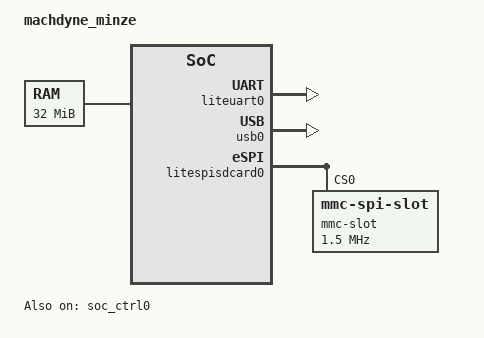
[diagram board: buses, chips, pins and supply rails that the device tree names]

/dts-v1/;

/ {
        compatible = "litex,machdyne_minze", "litex,soc";
        model = "machdyne_minze";
        #address-cells = <1>;
        #size-cells    = <1>;


        chosen {
            bootargs = "console=liteuart earlycon=liteuart,0xf0001000 rootwait root=/dev/ram0";
            linux,initrd-start = <0x41000000>;
            linux,initrd-end   = <0x41800000>;
        };

        sys_clk: clock-48000000 {
            compatible = "fixed-clock";
            #clock-cells = <0>;
            clock-frequency  = <48000000>;
        };

        cpus {
            #address-cells = <1>;
            #size-cells    = <0>;
            timebase-frequency = <48000000>;

            CPU0: cpu@0 {
                device_type = "cpu";
                compatible = "riscv";
                riscv,isa = "rv32i2p0_ma";
                riscv,isa-base = "rv32i";
                riscv,isa-extensions = "a", "i", "m";
                mmu-type = "riscv,sv32";
                reg = <0>;
                clock-frequency = <48000000>;
                status = "okay";
                
                d-cache-size = <64>;
                d-cache-sets = <1>;
                d-cache-block-size = <64>;

                i-cache-size = <64>;
                i-cache-sets = <1>;
                i-cache-block-size = <64>;

                
                tlb-split;
                d-tlb-size = <4>;
                d-tlb-sets = <4>;

                i-tlb-size = <4>;
                i-tlb-sets = <4>;

                
                L0: interrupt-controller {
                    #address-cells = <0>;
                    #interrupt-cells = <0x00000001>;
                    interrupt-controller;
                    compatible = "riscv,cpu-intc";
                };
            };

            
        };

        memory: memory@40000000 {
            device_type = "memory";
            reg = <0x40000000 0x2000000>;
        };

        reserved-memory {
            #address-cells = <1>;
            #size-cells    = <1>;
            ranges;

            opensbi@40f00000 {
                reg = <0x40f00000 0x80000>;
            };

            framebuffer@40c00000 {
                reg = <0x40c00000 0x0>;
            };

        };

        soc {
            #address-cells = <1>;
            #size-cells    = <1>;
            compatible = "simple-bus";
            interrupt-parent = <&intc0>;
            ranges;

            soc_ctrl0: soc_controller@f0000000 {
                compatible = "litex,soc-controller";
                reg = <0xf0000000 0xc>;
                status = "okay";
            };

            intc0: interrupt-controller@f0c00000 {
                compatible = "sifive,fu540-c000-plic", "sifive,plic-1.0.0";
                reg = <0xf0c00000 0x400000>;
                #address-cells = <0>;
                #interrupt-cells = <1>;
                interrupt-controller;
                interrupts-extended = <
                    &L0 11 &L0 9>;
                riscv,ndev = <32>;
                
            };

            liteuart0: serial@f0001000 {
                compatible = "litex,liteuart";
                reg = <0xf0001000 0x100>;
                interrupts = <1>;
                status = "okay";
            };

            usb0: mac@c0000000 {
                compatible = "generic-ohci";
                reg = <0xc0000000 0x1000>;
                interrupts = <16>;
                status = "okay";
            };

            litespisdcard0: spi@f0002800 {
                compatible = "litex,litespi";
                reg = <0xf0002800 0x100>;
                status = "okay";

                litespi,max-bpw = <8>;
                litespi,sck-frequency = <1500000>;
                litespi,num-cs = <1>;

                #address-cells = <1>;
                #size-cells    = <0>;

                mmc-slot@0 {
                    compatible = "mmc-spi-slot";
                    reg = <0>;
                    voltage-ranges = <3300 3300>;
                    spi-max-frequency = <1500000>;
                    status = "okay";
                    };
            };

            framebuffer0: framebuffer@40c00000 {
                compatible = "simple-framebuffer";
                reg = <0x40c00000 0x9600>;
                width = <640>;
                height = <480>;
                stride = <80>;
                format = "mono1";
            };

        };

        aliases {

                serial0 = &liteuart0;

                sdcard0 = &litespisdcard0;

        };

};
